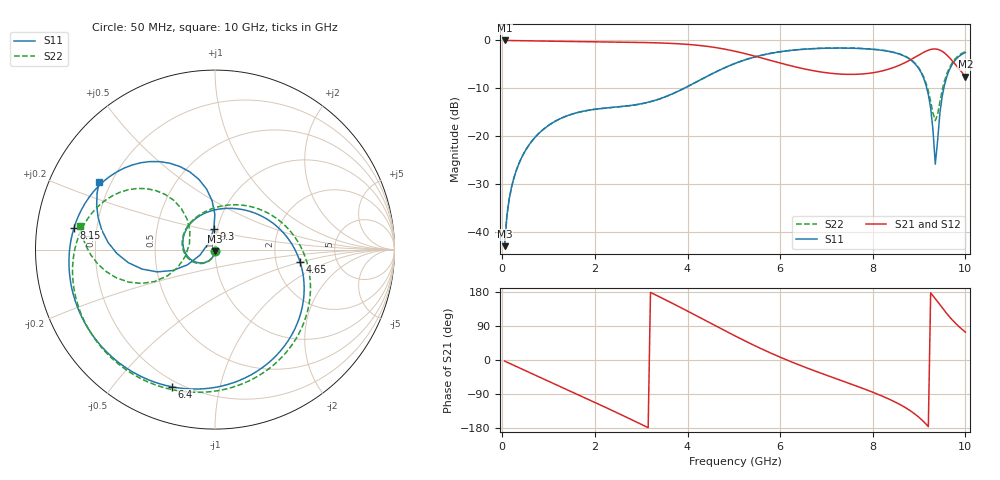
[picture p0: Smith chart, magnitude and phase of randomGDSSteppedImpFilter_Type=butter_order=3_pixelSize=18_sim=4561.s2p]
! freq	dB(S11)	phase(S11)	dB(S12)	phase(S12)
!  dB(S21)	phase(S21)	dB(S22)	phase(S22)
!S-par simulation data
#  GHz  S  DB  R 50
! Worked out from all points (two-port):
!   200 points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, 50 MHz to 10 GHz, reference 50 ohm
!   highest |S21| = -0.01 dB at 50 MHz (marker M1); lowest = -7.5 dB at 10 GHz (marker M2)
!   |S21| within 3 dB of the highest: start of sweep to 5.349 GHz; 9.002 GHz to 9.596 GHz (593.8 MHz wide, 6.39 % of centre)
!   lowest |S11| = -42.9 dB at 50 MHz (marker M3), VSWR 1.01, Z = 50 - j0.717 ohm
!   |S11| at or under -10 dB: start of sweep to 3.922 GHz; 9.167 GHz to 9.534 GHz (366.7 MHz wide, 3.92 % of centre)
!   |S22| runs from -42.3 to -1.6 dB; largest |S21 - S12| = 0
!   S11 on the Smith chart (normalised r, x): 50 MHz: 1.00, -0.01; 4.65 GHz: 2.74, -0.50; 6.4 GHz: 0.17, -0.72; 8.15 GHz: 0.12, +0.08; 9.3 GHz: 0.96, +0.23; 10 GHz: 0.15, +0.27
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0.05  -42.89 -89.7  -0.01 -2.9  -0.01 -2.9  -42.34 -91.4
0.2  -30.58 -101.5  -0.02 -11.3  -0.02 -11.3  -30.58 -100.6
0.5  -22.95 -119.3  -0.06 -28.2  -0.06 -28.2  -22.94 -118.0
1.15  -16.80 -157.1  -0.17 -64.5  -0.17 -64.5  -16.81 -153.6
1.75  -14.75 168.1  -0.26 -98.0  -0.26 -98.0  -14.76 174.0
2.65  -13.71 114.6  -0.37 -149.2  -0.37 -149.2  -13.72 124.9
3.4  -12.17 68.9  -0.52 166.3  -0.52 166.3  -12.19 81.3
4.1  -9.12 25.9  -0.90 122.7  -0.90 122.7  -9.13 37.3
4.65  -6.38 -8.5  -1.55 87.5  -1.55 87.5  -6.39 1.5
5.05  -4.71 -33.3  -2.31 62.1  -2.31 62.1  -4.71 -24.0
5.65  -2.98 -68.5  -3.79 26.4  -3.79 26.4  -2.97 -59.6
6.4  -1.92 -107.5  -5.68 -12.6  -5.68 -12.6  -1.90 -98.1
6.7  -1.73 -121.7  -6.28 -26.6  -6.28 -26.6  -1.71 -111.8
7.45  -1.61 -155.7  -7.07 -59.9  -7.07 -59.9  -1.58 -143.7
8.15  -2.00 171.1  -6.47 -92.5  -6.47 -92.5  -1.96 -173.6
8.35  -2.29 160.3  -5.97 -103.1  -5.97 -103.1  -2.25 177.0
9.05  -6.81 108.1  -2.74 -157.0  -2.74 -157.0  -6.61 135.1
9.2  -11.29 93.4  -2.04 -175.8  -2.04 -175.8  -10.57 129.3
9.3  -18.66 93.0  -1.79 169.6  -1.79 169.6  -15.16 143.2
9.35  -25.80 132.1  -1.78 161.8  -1.78 161.8  -16.71 166.9
9.55  -9.22 -159.0  -2.62 129.8  -2.62 129.8  -8.41 -152.1
10  -2.52 149.6  -7.53 73.6  -7.53 73.6  -2.34 169.9
